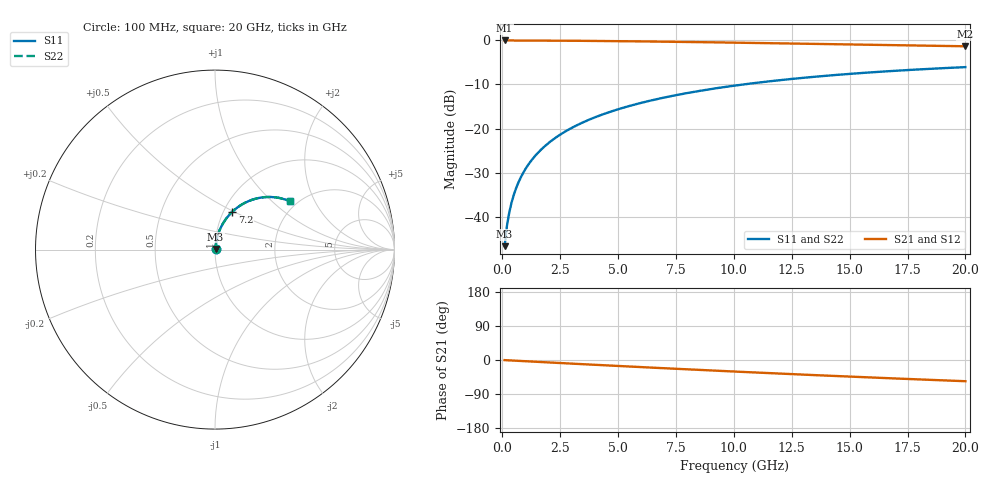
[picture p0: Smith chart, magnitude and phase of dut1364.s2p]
! Touchstone file exported from HFSS 2026.1.0
!  File:  C:/ffzhzh/LocalFiles/Ansys_Project_Files/temp_train_BSMRDL_1364_1783179263_51560.aedt
!  Generated:  11:35:50 PM Jul  4, 2026
!  Design:  BSMRDL
!  Project:  temp_train_BSMRDL_1364_1783179263_51560
! Variables:
!  h_bsmrdl = 4.94um
!  h_ox = 20um
!  h_rdl = 5um
!  h_sub = 80um
!  h_tmrdl = 5um
!  h_tsv = 80um
!  h_via = 3um
!  l_bsmrdl = 851.19um
!  l_sub = 1251.19um
!  l_tmrdl = 200um
!  m_sub = 200um
!  pitch = 57.83um
!  r_tsv = 6um
!  s_tmrdl = 10um
!  w_bsmrdl = 23um
!  w_sub = 500um
!  w_tmrdl = 12um
!  x_tsv_center1 = 206um
!  x_tsv_center2 = 1080.19um
!  x_tsv_center3 = 1292.19um
!  x_tsv_center4 = 2166.38um
!  x_tsv_center5 = 2378.38um
!  x_tsv_center6 = 3252.57um
# GHz S MA R 50.000000
! Terminal data exported
! Port[1] = BSM_RDL1_1_T1
! Port[2] = BSM_RDL1_1_T2
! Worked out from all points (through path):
!   200 points, 100 MHz to 20 GHz, reference 50 ohm
!   highest |S21| = -0.02 dB at 100 MHz (marker M1); lowest = -1.3 dB at 20 GHz (marker M2)
!   group delay of S21, straight-line fit = 7.78 ps
!   lowest |S11| = -46.7 dB at 100 MHz (marker M3), VSWR 1.01, Z = 50.3 + j0.369 ohm
!   |S11| at or under -10 dB: start of sweep to 10.41 GHz
!   |S22| runs from -46.7 to -6.1 dB; largest |S21 - S12| = 4.1e-15
!   S11 on the Smith chart (normalised r, x): 100 MHz: 1.01, +0.01; 7.2 GHz: 1.10, +0.49; 20 GHz: 1.83, +1.31
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0.1  0.004641 52.3  0.9972 -0.3  0.9972 -0.3  0.004641 52.3
! Gamma 0 0 0 0
! Port Impedance 50 0 50 0
0.2  0.007834 66.9  0.997 -0.7  0.997 -0.7  0.007834 66.9
0.3  0.01115 72.6  0.9968 -1.0  0.9968 -1.0  0.01115 72.6
0.4  0.01448 75.7  0.9967 -1.3  0.9967 -1.3  0.01448 75.7
0.5  0.01784 77.6  0.9965 -1.6  0.9965 -1.6  0.01784 77.6
0.7  0.0246 79.7  0.9963 -2.3  0.9963 -2.3  0.0246 79.7
0.8  0.02799 80.2  0.9961 -2.6  0.9961 -2.6  0.02799 80.2
1  0.03479 80.8  0.9958 -3.2  0.9958 -3.2  0.03479 80.8
1.4  0.04838 80.9  0.995 -4.5  0.995 -4.5  0.04838 80.9
1.7  0.05853 80.5  0.9942 -5.5  0.9942 -5.5  0.05853 80.6
2  0.06863 80.0  0.9933 -6.4  0.9933 -6.4  0.06863 80.0
2.7  0.09194 78.3  0.9909 -8.6  0.9909 -8.6  0.09194 78.3
3.5  0.118 76.1  0.9873 -11.1  0.9873 -11.1  0.118 76.1
4.2  0.1404 74.1  0.9838 -13.3  0.9838 -13.3  0.1404 74.1
5  0.1653 71.8  0.9792 -15.7  0.9792 -15.7  0.1653 71.8
6.8  0.2191 66.7  0.9674 -21.1  0.9674 -21.1  0.2191 66.7
7.2  0.2306 65.5  0.9645 -22.3  0.9645 -22.3  0.2306 65.6
8.6  0.2694 61.6  0.9538 -26.4  0.9538 -26.4  0.2694 61.7
10.1  0.3084 57.5  0.9415 -30.7  0.9415 -30.7  0.3084 57.5
13.4  0.3846 48.8  0.9125 -39.7  0.9125 -39.7  0.3846 48.8
16.7  0.4473 40.5  0.8834 -48.1  0.8834 -48.1  0.4473 40.6
20  0.4971 32.7  0.8565 -56.0  0.8565 -56.0  0.4972 32.8
